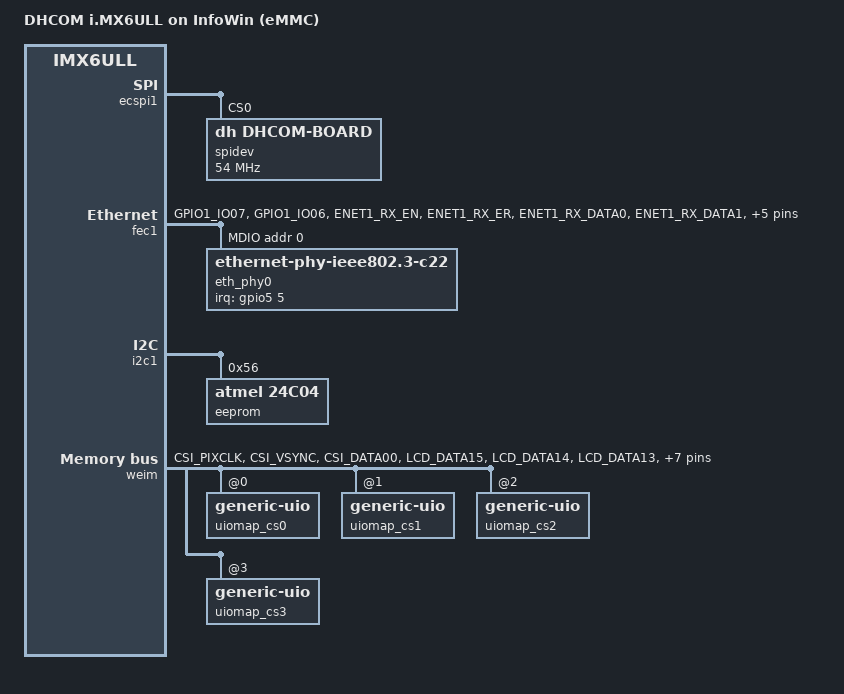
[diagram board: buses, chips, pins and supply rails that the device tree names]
// SPDX-License-Identifier: (GPL-2.0-or-later)
/*
 * Copyright (C) 2018 DH electronics GmbH
 */

/dts-v1/;

#include "imx6ull-dhcom.dtsi"
#include "imx6ull-dhcom-cfg-sdcard.dtsi"

/ {
	model = "DHCOM i.MX6ULL on InfoWin (eMMC)";
	compatible = "dh,imx6ull-dhcom-infowin-emmc", "fsl,imx6ull";
};

#ifndef CFG_BOOTFLASH
&ecspi1 { /* DHCOM SPI1 */
	spidev@0 {
		compatible = "dh,dhcom-board";
		reg = <0>;
		spi-max-frequency = <54000000>;
		spi-cpha; /* Shifted clock phase (CPHA) mode */
		spi-cpol; /* Inverse clock polarity (CPOL) mode */
	};
};
#endif

/delete-node/ &eth_phy0;
&fec1 {
	pinctrl-names = "default";
	pinctrl-0 = <&pinctrl_enet1>;

	mdio {
		#address-cells = <1>;
		#size-cells = <0>;

		eth_phy0: ethernet-phy@0 { /* SMSC LAN8710Ai */
			pinctrl-names = "default";
			pinctrl-0 = <&pinctrl_snvs_eth_phy0>;
			compatible = "ethernet-phy-ieee802.3-c22";
			reg = <0>;
		/* TODO: If this is active SMSC phy isn't accessible
			reset-gpios = <&gpio3 23 GPIO_ACTIVE_LOW>;
			reset-assert-us = <1000>;
			reset-deassert-us = <10000>; */
			clocks = <&clks IMX6UL_CLK_ENET_REF>;
			clock-names = "rmii-ref";
			interrupt-parent = <&gpio5>;
			interrupts = <5 IRQ_TYPE_EDGE_FALLING>;
			smsc,disable-energy-detect; /* Make plugin detection reliable */
			max-speed = <100>;
			status = "okay";
		};
	};
};

&fec2 {
	status = "disabled";
};

&i2c1 { /* DHCOM I2C2 */
	eeprom@56 { /* Atmel AT24HC04B, addresses 0x56 and 0x57 */
		compatible = "atmel,24c04";
		reg = <0x56>;
		pagesize = <16>;
	};
};

&i2c2 { /* DHCOM I2C1 */
};

&uart2 {
	status = "disabled";
};

&weim {
	/*
	 * Configuring the WEIM interface to send display data to
	 * Sitronix ST7586S LCD controller via 8080 parallel interface (8bit).
	 * For configuring WEIM for other projects, please check if a
	 * multiplexed mode is needed. Therefore you need to activate it
	 * and check the correct assignment of the data lines.
	 */
	pinctrl-names = "default";
	pinctrl-0 = <&pinctrl_weim &pinctrl_weim_cs2 &pinctrl_weim_cs3>;
	#address-cells = <2>;
	#size-cells = <1>;

	/* It is necessary to setup 4 x 32 MB otherwise setting gpr fails */
	ranges = <0 0  0x50000000  0x02000000>,	/* Chip select 0 == DHCOM CS A */
		 <1 0  0x52000000  0x02000000>,	/* Chip select 1 == DHCOM CS B */
		 <2 0  0x54000000  0x02000000>,	/* Chip select 2 == DHCOM CS C */
		 <3 0  0x56000000  0x02000000>;	/* Chip select 3 == DHCOM CS D */
	fsl,weim-cs-gpr = <&gpr>;
	status = "okay";

	/*
	 * Even if you do not need all uiomaps,
	 * you must not disable the unused.
	 */
	uiomap_cs0@0,0 {
		compatible = "generic-uio";
		reg = <0 0x00000000 0x02000000>;
		reg-names = "uio_cs0";
		#address-cells = <1>;
		#size-cells = <1>;
		fsl,weim-cs-timing = <0x00610089 0x00001002 0x0F011061
				      0x00000000 0x0F068A31 0x00000000>;
		status = "okay";
	};
	uiomap_cs1@0,1 {
		compatible = "generic-uio";
		reg = <1 0x00000000 0x02000000>;
		reg-names = "uio_cs1";
		#address-cells = <1>;
		#size-cells = <1>;
		fsl,weim-cs-timing = <0x00610089 0x00001002 0x0F011061
				      0x00000000 0x0F068A31 0x00000000>;
		status = "okay";
	};
	/* Used for WEIM -> 8080 parallel interface */
	uiomap_cs2@0,2 {
		compatible = "generic-uio";
		reg = <2 0x00000000 0x02000000>;
		reg-names = "uio_cs2";
		#address-cells = <1>;
		#size-cells = <1>;
		fsl,weim-cs-timing = <0x00610081 0x00001002 0x1F011061
				      0x00000000 0x15068492 0x00000000>;
		status = "okay";
	};

	uiomap_cs3@0,3 {
		compatible = "generic-uio";
		reg = <3 0x00000000 0x02000000>;
		reg-names = "uio_cs3";
		#address-cells = <1>;
		#size-cells = <1>;
		fsl,weim-cs-timing = <0x00610089 0x00001002 0x0F011061
				      0x00000000 0x0F068A31 0x00000000>;
		status = "okay";
	};
};

&iomuxc {
	pinctrl-names = "default";
	pinctrl-0 = <&pinctrl_hog_infowin>;

	pinctrl_hog_infowin: hog-infowin-grp {
		fsl,pins = <
			MX6UL_PAD_UART2_TX_DATA__GPIO1_IO20	0x400120b0
			MX6UL_PAD_UART2_RX_DATA__GPIO1_IO21	0x400120b0

			MX6UL_PAD_UART1_CTS_B__GPIO1_IO18	0x400120b0 /* GPIO I */
			MX6UL_PAD_CSI_HSYNC__GPIO4_IO20		0x400120b0 /* GPIO J */
			/* CSI_PIXCLK is used for parallel interface OE       GPIO K */
			MX6UL_PAD_CSI_MCLK__GPIO4_IO17		0x400120b0 /* GPIO L */
			/* CSI_VSYNC is used for parallel interface RW        GPIO M */
#ifndef CFG_BOOTFLASH
			MX6UL_PAD_CSI_DATA07__GPIO4_IO28	0x400120b0 /* GPIO N */
			MX6UL_PAD_CSI_DATA06__GPIO4_IO27	0x400120b0 /* GPIO O -> LC_#RESET */
			MX6UL_PAD_CSI_DATA05__GPIO4_IO26	0x400120b0 /* GPIO P */
			MX6UL_PAD_CSI_DATA04__GPIO4_IO25	0x400120b0 /* GPIO Q */
			MX6UL_PAD_CSI_DATA03__GPIO4_IO24	0x400120b0 /* GPIO R */
			MX6UL_PAD_CSI_DATA02__GPIO4_IO23	0x400120b0 /* GPIO S */
			MX6UL_PAD_CSI_DATA01__GPIO4_IO22	0x400120b0 /* GPIO T */
			/* CSI_DATA00 is used for parallel interface A0       GPIO U */
#endif
			/* There isn't a pin defined                          GPIO V */
			/* There isn't a pin defined                          GPIO W */
		>;
	};

	pinctrl_enet1: enet1-grp {
		fsl,pins = <
			MX6UL_PAD_GPIO1_IO07__ENET1_MDC		0x1b0b0
			MX6UL_PAD_GPIO1_IO06__ENET1_MDIO	0x1b0b0
			MX6UL_PAD_ENET1_RX_EN__ENET1_RX_EN	0x1b0b0
			MX6UL_PAD_ENET1_RX_ER__ENET1_RX_ER	0x1b0b0
			MX6UL_PAD_ENET1_RX_DATA0__ENET1_RDATA00	0x1b0b0
			MX6UL_PAD_ENET1_RX_DATA1__ENET1_RDATA01	0x1b0b0
			MX6UL_PAD_ENET1_TX_EN__ENET1_TX_EN	0x1b0b0
			MX6UL_PAD_ENET1_TX_DATA0__ENET1_TDATA00	0x1b0b0
			MX6UL_PAD_ENET1_TX_DATA1__ENET1_TDATA01	0x1b0b0
			MX6UL_PAD_ENET1_TX_CLK__ENET1_REF_CLK1	0x4001b031
			MX6UL_PAD_LCD_DATA18__GPIO3_IO23	0xb0 /* SMSC phy reset */
		>;
	};

	pinctrl_weim: weim-grp {
		fsl,pins = <
			MX6UL_PAD_CSI_PIXCLK__EIM_OE		0xb0b1 /* OE */
			MX6UL_PAD_CSI_VSYNC__EIM_RW		0xb0b1 /* RW */
#ifndef CFG_BOOTFLASH
			/* Address line */
			MX6UL_PAD_CSI_DATA00__EIM_AD00		0xb0a6 /* A0 */
#endif
			/* Data lines */
			MX6UL_PAD_LCD_DATA15__EIM_DATA07	0xb0a6 /* D7 */
			MX6UL_PAD_LCD_DATA14__EIM_DATA06	0xb0a6 /* D6 */
			MX6UL_PAD_LCD_DATA13__EIM_DATA05	0xb0a6 /* D5 */
			MX6UL_PAD_LCD_DATA12__EIM_DATA04	0xb0a6 /* D4 */
			MX6UL_PAD_LCD_DATA11__EIM_DATA03	0xb0a6 /* D3 */
			MX6UL_PAD_LCD_DATA10__EIM_DATA02	0xb0a6 /* D2 */
			MX6UL_PAD_LCD_DATA09__EIM_DATA01	0xb0a6 /* D1 */
			MX6UL_PAD_LCD_DATA08__EIM_DATA00	0xb0a6 /* D0 */
		>;
	};

	pinctrl_weim_cs2: weim-cs2-grp {
		fsl,pins = <
			MX6UL_PAD_LCD_CLK__EIM_CS2_B		0xb0b1 /* CS */
		>;
	};

	pinctrl_weim_cs3: weim-cs3-grp {
		fsl,pins = <
			MX6UL_PAD_LCD_ENABLE__EIM_CS3_B		0xb0b1
		>;
	};
};

&iomuxc_snvs {
	pinctrl-names = "default";
	pinctrl-0 = <&pinctrl_snvs_hog_infowin>;

	pinctrl_snvs_hog_infowin: snvs-hog-infowin-grp {
		fsl,pins = <
			MX6ULL_PAD_SNVS_TAMPER0__GPIO5_IO00	0x400120b0 /* GPIO A -> LC_RED */
			MX6ULL_PAD_SNVS_TAMPER1__GPIO5_IO01	0x400120b0 /* GPIO B */
			MX6ULL_PAD_SNVS_TAMPER2__GPIO5_IO02	0x400120b0 /* GPIO C -> LC_WHITE */
			MX6ULL_PAD_SNVS_TAMPER3__GPIO5_IO03	0x400120b0 /* GPIO D */
			MX6ULL_PAD_SNVS_TAMPER4__GPIO5_IO04	0x400120b0 /* GPIO E */
			MX6ULL_PAD_SNVS_TAMPER7__GPIO5_IO07	0x400120b0 /* GPIO F */
			MX6ULL_PAD_SNVS_TAMPER8__GPIO5_IO08	0x400120b0 /* GPIO G */
			MX6ULL_PAD_SNVS_TAMPER9__GPIO5_IO09	0x400120b0 /* GPIO H */
		>;
	};
};
